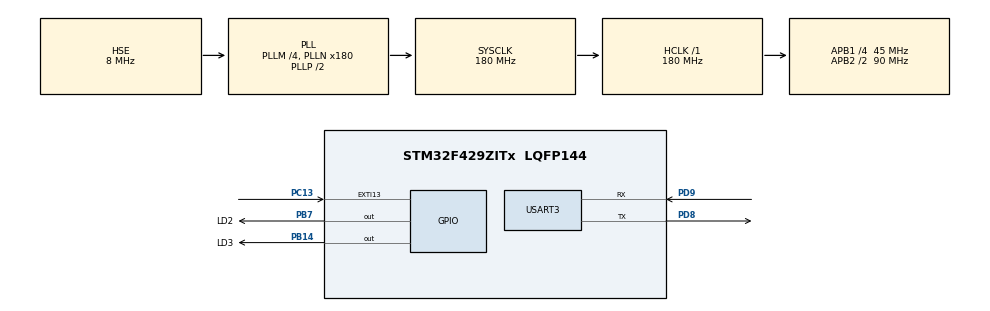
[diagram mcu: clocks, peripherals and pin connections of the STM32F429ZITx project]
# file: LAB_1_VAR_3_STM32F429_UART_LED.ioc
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ADC1.Channel-0\#ChannelRegularConversion=ADC_CHANNEL_TEMPSENSOR
ADC1.Channel-4\#ChannelInjectedConversion=ADC_CHANNEL_TEMPSENSOR
ADC1.Channel-5\#ChannelInjectedConversion=ADC_CHANNEL_VREFINT
ADC1.InjNumberOfConversion=2
ADC1.InjectedOffset-4\#ChannelInjectedConversion=0
ADC1.InjectedOffset-5\#ChannelInjectedConversion=0
ADC1.InjectedRank-4\#ChannelInjectedConversion=1
ADC1.InjectedRank-5\#ChannelInjectedConversion=2
ADC1.NbrOfConversion=1
ADC1.NbrOfConversionFlag=1
ADC1.Rank-0\#ChannelRegularConversion=1
ADC1.SamplingTime-0\#ChannelRegularConversion=ADC_SAMPLETIME_3CYCLES
ADC1.SamplingTime-4\#ChannelInjectedConversion=ADC_SAMPLETIME_56CYCLES
ADC1.SamplingTime-5\#ChannelInjectedConversion=ADC_SAMPLETIME_56CYCLES
ADC1.ScanConvMode=ENABLE
ADC1.master=1
Mcu.Family=STM32F4
Mcu.Name=STM32F429ZITx
Mcu.Package=LQFP144
NVIC.ADC_IRQn=true\:0\:0\:false\:false\:true\:true\:true\:true
NVIC.EXTI15_10_IRQn=true\:0\:0\:false\:false\:true\:true\:true\:true
NVIC.PriorityGroup=NVIC_PRIORITYGROUP_4
NVIC.TIM1_BRK_TIM9_IRQn=true\:0\:0\:false\:false\:true\:true\:true\:true
NVIC.TIM1_UP_TIM10_IRQn=true\:0\:0\:false\:false\:true\:true\:true\:true
NVIC.USART3_IRQn=true\:0\:0\:false\:false\:true\:true\:true\:true
PA13.Mode=Serial_Wire
PA13.Signal=SYS_JTMS-SWDIO
PA14.Mode=Serial_Wire
PA14.Signal=SYS_JTCK-SWCLK
PB14.GPIO_Label=LD3
PB14.Signal=GPIO_Output
PB7.GPIO_Label=LD2
PB7.Signal=GPIO_Output
PC13.GPIO_ModeDefaultEXTI=GPIO_MODE_IT_RISING
PC13.GPIO_PuPd=GPIO_PULLDOWN
PC13.Signal=GPXTI13
PD8.Mode=Asynchronous
PD8.Signal=USART3_TX
PD9.Mode=Asynchronous
PD9.Signal=USART3_RX
PH0/OSC_IN.Mode=HSE-External-Oscillator
PH0/OSC_IN.Signal=RCC_OSC_IN
PH1/OSC_OUT.Mode=HSE-External-Oscillator
PH1/OSC_OUT.Signal=RCC_OSC_OUT
ProjectManager.HeapSize=0x200
ProjectManager.StackSize=0x400
ProjectManager.TargetToolchain=STM32CubeIDE
RCC.48MHZClocksFreq_Value=90000000
RCC.AHBFreq_Value=180000000
RCC.APB1CLKDivider=RCC_HCLK_DIV4
RCC.APB1Freq_Value=45000000
RCC.APB1TimFreq_Value=90000000
RCC.APB2CLKDivider=RCC_HCLK_DIV2
RCC.APB2Freq_Value=90000000
RCC.APB2TimFreq_Value=180000000
RCC.CortexFreq_Value=180000000
RCC.HCLKFreq_Value=180000000
RCC.HSE_VALUE=8000000
RCC.HSI_VALUE=16000000
RCC.LSE_VALUE=32768
RCC.PLLM=4
RCC.PLLN=180
RCC.PLLSourceVirtual=RCC_PLLSOURCE_HSE
RCC.SYSCLKFreq_VALUE=180000000
RCC.SYSCLKSource=RCC_SYSCLKSOURCE_PLLCLK
RCC.VCOOutputFreq_Value=360000000
TIM1.Period=1000-1
TIM1.Prescaler=900-1
USART3.VirtualMode=VM_ASYNC
VP_ADC1_TempSens_Input.Mode=IN-TempSens
VP_ADC1_Vref_Input.Mode=IN-Vrefint
VP_TIM1_VS_ClockSourceINT.Mode=Internal
board=custom

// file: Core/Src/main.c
/* USER CODE BEGIN Header */
/**
  ******************************************************************************
  * @file           : main.c
  * @brief          : Main program body
  ******************************************************************************
  * @attention
  *
  * Copyright (c) 2022 STMicroelectronics.
  * All rights reserved.
  *
  * This software is licensed under terms that can be found in the LICENSE file
  * in the root directory of this software component.
  * If no LICENSE file comes with this software, it is provided AS-IS.
  *
  ******************************************************************************
  */
/* USER CODE END Header */
#include "main.h" ////////ffffffff
#include "adc.h"
#include "tim.h"
#include "usart.h"
#include "gpio.h"

/* USER CODE BEGIN Includes */
#include "stdio.h"
#include <string.h>
/* USER CODE END Includes */

/* USER CODE BEGIN PTD */

typedef struct
	{
		unsigned MessageReady 	: 1;
		unsigned BufferOverrun 	: 1;
	}uart_flag_t;

typedef struct
	{
		uint8_t * 	buffer;
		uint16_t 	start;
		uint16_t 	end;
		uint16_t	size;
		uart_flag_t flag;
	} uart_ring_buff_t;

/* USER CODE END PTD */

/* USER CODE BEGIN PD */
#define R_BUFF_LEN 32
/* USER CODE END PD */

/* USER CODE BEGIN PV */

uint8_t btn_state = 0;              //Cтан кнопки
uint8_t btn_cur  = 0;				//поточне значення кнопки
uint8_t btn_prev = 0; 				//попереднє значення кнопки

uint8_t tipe_str = 0;

uint8_t buff[R_BUFF_LEN];
uart_ring_buff_t uart_ring;

float temprt;
float voltag;

/* USER CODE END PV */

void SystemClock_Config(void);
/* USER CODE BEGIN PFP */

void ring_init(uart_ring_buff_t * uart_ring, uint8_t * buff, uint16_t buff_size);
void ring_clear(uart_ring_buff_t * uart_ring);
void ring_putchar(uart_ring_buff_t * uart_ring, uint8_t ch);
uint8_t ring_getchar(uart_ring_buff_t * uart_ring);
uint8_t ring_get_message(uart_ring_buff_t * uart_ring, uint8_t * string);

/* USER CODE END PFP */

int main(void)
{
  /* USER CODE BEGIN 1 */
//	uint32_t delayms = 100;
	uint8_t tstring[255];
	uint8_t rstring[R_BUFF_LEN + 1];
	char string[8];

  /* USER CODE END 1 */

  /* MCU Configuration--------------------------------------------------------*/

  /* Reset of all peripherals, Initializes the Flash interface and the Systick. */
  HAL_Init();

  /* Configure the system clock */
  SystemClock_Config();

  /* Initialize all configured peripherals */
  MX_GPIO_Init();
  MX_USART3_UART_Init();
  MX_TIM1_Init();
  MX_ADC1_Init();
  /* USER CODE BEGIN 2 */
  ring_init(&uart_ring, buff, sizeof(buff) / sizeof(buff[0]) ); // Initialize UART receiver ring buffer.
  sprintf((char*)tstring,"UART IT Enter command 'T MCU','V REF' or 'ALL SENS' ('t mcu','v ref','all sens')\r\n");
  HAL_UART_Transmit_IT(&huart3,tstring,strlen((char*)tstring));
  HAL_UART_Receive_IT(&huart3,uart_ring.buffer,1);						 // Start UART receiver in the non blocking mode

  /* USER CODE END 2 */

  /* Infinite loop */
  while (1)
  {

    /* USER CODE BEGIN 3 */

	  //btn_cur = HAL_GPIO_ReadPin(GPIOC, GPIO_PIN_13);
	  HAL_ADCEx_InjectedStart(&hadc1);
	  HAL_ADC_PollForConversion(&hadc1, 100);
	  //temprt = HAL_ADCEx_InjectedGetValue(&hadc1, ADC_INJECTED_RANK_1);
	  //Temperature (in °C) = {(VSENSE – V25) / Avg_Slope} + 25
	  temprt = ((3.3*HAL_ADCEx_InjectedGetValue(&hadc1, ADC_INJECTED_RANK_1)/4095-0.76)/0.0025)+25;
	  voltag = ((float)HAL_ADCEx_InjectedGetValue(&hadc1, ADC_INJECTED_RANK_2)*3/4096);
	  HAL_ADCEx_InjectedStop(&hadc1);

	  if (ring_get_message(&uart_ring, rstring)){
		  sscanf((char*)rstring,"%25[TMCUVREFALSNtmcuvrefalsn ]", string);

		  if(!strcmp(string,"T MCU") || !strcmp(string,"t mcu"))
		  {
			  sprintf((char*)tstring,"T MCU = %d C\r\n",(uint16_t)temprt);
		  }
		  else if(!strcmp(string,"V REF") || !strcmp(string,"v ref"))
		  {
			  sprintf((char*)tstring,"V REF = %.2f V\r\n",voltag);
		  }
		  else if(!strcmp(string,"ALL SENS") || !strcmp(string,"all sens"))
		  {
			  sprintf((char*)tstring,"T MCU = %d C\r\n" "V REF = %.2f V\r\n",(uint16_t)temprt,voltag);
			  //sprintf((char*)tstring,"V REF = %.2f C\r\n",voltag);
		  }
		  else
		  {
			  // Transmit (in non blocking mode) back to the UART the last entered line and prompt for the next input
			  sprintf((char*)tstring,"Incorrect command Echo: %s\n" "Enter the correct command 'T MCU','V REF' or 'ALL SENS' ('t mcu','v ref','all sens')\r\n",rstring);
		  }

		  HAL_UART_Transmit_IT(&huart3,tstring,strlen((char*)tstring));
	  }

	  if(btn_state == 0)
	  {
		  HAL_GPIO_WritePin(GPIOB, LD2_Pin, 1);
		  HAL_Delay(500);
		  if(btn_state == 0)
		  {
			  HAL_GPIO_WritePin(GPIOB, LD3_Pin, 1);
			  HAL_Delay(500);
			  if(btn_state == 0)
			  {
				  HAL_GPIO_WritePin(GPIOB, LD2_Pin, 0);
				  HAL_Delay(500);
				  if(btn_state == 0)
				  {
					  HAL_GPIO_WritePin(GPIOB, LD3_Pin, 0);
					  HAL_Delay(500);
				  }
			  }
		  }
	  }

  }
  /* USER CODE END 3 */
}

void SystemClock_Config(void)
{
  RCC_OscInitTypeDef RCC_OscInitStruct = {0};
  RCC_ClkInitTypeDef RCC_ClkInitStruct = {0};

  /** Configure the main internal regulator output voltage
  */
  __HAL_RCC_PWR_CLK_ENABLE();
  __HAL_PWR_VOLTAGESCALING_CONFIG(PWR_REGULATOR_VOLTAGE_SCALE1);

  /** Initializes the RCC Oscillators according to the specified parameters
  * in the RCC_OscInitTypeDef structure.
  */
  RCC_OscInitStruct.OscillatorType = RCC_OSCILLATORTYPE_HSE;
  RCC_OscInitStruct.HSEState = RCC_HSE_ON;
  RCC_OscInitStruct.PLL.PLLState = RCC_PLL_ON;
  RCC_OscInitStruct.PLL.PLLSource = RCC_PLLSOURCE_HSE;
  RCC_OscInitStruct.PLL.PLLM = 4;
  RCC_OscInitStruct.PLL.PLLN = 180;
  RCC_OscInitStruct.PLL.PLLP = RCC_PLLP_DIV2;
  RCC_OscInitStruct.PLL.PLLQ = 4;
  if (HAL_RCC_OscConfig(&RCC_OscInitStruct) != HAL_OK)
  {
    Error_Handler();
  }

  /** Activate the Over-Drive mode
  */
  if (HAL_PWREx_EnableOverDrive() != HAL_OK)
  {
    Error_Handler();
  }

  /** Initializes the CPU, AHB and APB buses clocks
  */
  RCC_ClkInitStruct.ClockType = RCC_CLOCKTYPE_HCLK|RCC_CLOCKTYPE_SYSCLK
                              |RCC_CLOCKTYPE_PCLK1|RCC_CLOCKTYPE_PCLK2;
  RCC_ClkInitStruct.SYSCLKSource = RCC_SYSCLKSOURCE_PLLCLK;
  RCC_ClkInitStruct.AHBCLKDivider = RCC_SYSCLK_DIV1;
  RCC_ClkInitStruct.APB1CLKDivider = RCC_HCLK_DIV4;
  RCC_ClkInitStruct.APB2CLKDivider = RCC_HCLK_DIV2;

  if (HAL_RCC_ClockConfig(&RCC_ClkInitStruct, FLASH_LATENCY_5) != HAL_OK)
  {
    Error_Handler();
  }
}

/* USER CODE BEGIN 4 */

void HAL_GPIO_EXTI_Callback(uint16_t GPIO_Pin)
{
	if(GPIO_Pin == GPIO_PIN_13)
	{
		HAL_NVIC_DisableIRQ(EXTI15_10_IRQn); // сразу же отключаем прерывания на этом пине
		// либо выполняем какое-то действие прямо тут, либо поднимаем флажок
		HAL_TIM_Base_Start_IT(&htim1); // запускаем таймер
	}
}

void HAL_TIM_PeriodElapsedCallback(TIM_HandleTypeDef *htim)
{

	if(htim->Instance == TIM1)
	{
		HAL_TIM_Base_Stop_IT(&htim1); // останавливаем таймер
		__HAL_GPIO_EXTI_CLEAR_IT(GPIO_PIN_13);  // очищаем бит EXTI_PR (бит прерывания)
		NVIC_ClearPendingIRQ(EXTI15_10_IRQn); // очищаем бит NVIC_ICPRx (бит очереди)
		HAL_NVIC_EnableIRQ(EXTI15_10_IRQn);   // включаем внешнее прерывание
		//btn_cur = HAL_GPIO_ReadPin(GPIOC, GPIO_PIN_13);

		if(HAL_GPIO_ReadPin(GPIOC, GPIO_PIN_13) == 1)
		{
			if(btn_state == 0)
			{
				btn_state = 1;
			}
			else btn_state = 0;
		}
		/*if((btn_prev == 0) && (btn_cur != 0))
		{
		}*/
	}
}
//////////////////////////////////////////////////////////UART_IT////////////////////////////////////////////////////////////////
// UART receive interrupt callback function
void HAL_UART_RxCpltCallback(UART_HandleTypeDef *huart)
{
	// Check that interrupt caused by UART1
	if (huart == &huart3)
		{
			// Put new character from the UART receiver data register (RDR) to the ring buffer
			ring_putchar(&uart_ring,huart->Instance->DR);                                             //питання RDR чи DR?
			// Set the overrun flag if the message is longer than ring buffer can hold
			if (uart_ring.end == uart_ring.start) uart_ring.flag.BufferOverrun = 1;
			// Set the message ready flag if the end of line character has been received
			if ((uart_ring.buffer[uart_ring.end -1] == '\r') ||
					(uart_ring.buffer[uart_ring.end -1] == '\n'))
				uart_ring.flag.MessageReady = 1;
			// Receive the next character from UART in non blocking mode
			HAL_UART_Receive_IT(&huart3,&uart_ring.buffer[uart_ring.end],1);
		}
}
// Initializes the ring buffer
void ring_init(uart_ring_buff_t * uart_ring, uint8_t * buff, uint16_t buff_size)
{
	uart_ring->buffer = buff;
	uart_ring->size = buff_size;
	ring_clear(uart_ring);
}
// Clears the ring buffer
void ring_clear(uart_ring_buff_t * uart_ring)
{
	uart_ring->start = 0;
	uart_ring->end = 0;
	uart_ring->flag.BufferOverrun = 0;
	uart_ring->flag.MessageReady = 0;
}
// Puts a new character to the ring buffer
void ring_putchar(uart_ring_buff_t * uart_ring, uint8_t ch)
{
	uart_ring->buffer[uart_ring->end++] = ch;
	if (uart_ring->end >= uart_ring->size) uart_ring->end = 0;
}
// Gets one character from the ring buffer
uint8_t ring_getchar(uart_ring_buff_t * uart_ring)
{
	uint8_t ch = uart_ring->buffer[uart_ring->start++];
	if (uart_ring->start >= uart_ring->size) uart_ring->start = 0;
	return ch;
}
// Reads full message from the ring buffer and clears appropriate flags
uint8_t ring_get_message(uart_ring_buff_t * uart_ring, uint8_t * string)
{
	uint16_t char_count = 0;
	// Check if the message has been received
	if (uart_ring->flag.MessageReady)
		{
			if (uart_ring->flag.BufferOverrun)
				{
					uart_ring->start = uart_ring->end;
					uart_ring->flag.BufferOverrun = 0;
				}
			while ((uart_ring->buffer[uart_ring->start] != '\r') &&
						 (uart_ring->buffer[uart_ring->start] != '\n') &&
						 (uart_ring->size != char_count - 1))
				{
					*string =  ring_getchar(uart_ring);
					string++;
					char_count++;
				}
			*string =  ring_getchar(uart_ring);
			string++;
			char_count++;
			*string = '\0';
			uart_ring->flag.MessageReady = 0;
		}
	return char_count;
}

/* USER CODE END 4 */

void Error_Handler(void)
{
  __disable_irq();
  while (1)
  {
  }
}
